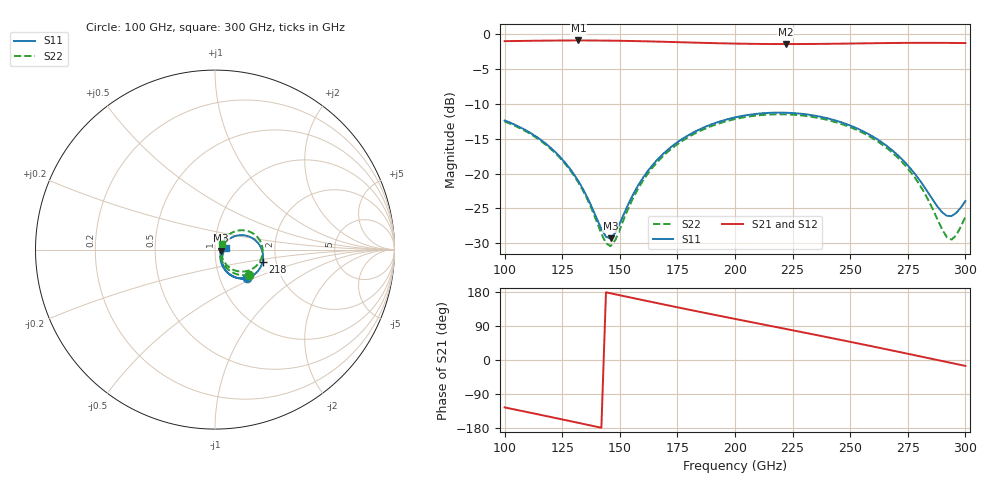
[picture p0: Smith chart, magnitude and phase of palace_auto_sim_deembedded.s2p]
! Created with skrf 1.11.0 (http://scikit-rf.org).
# GHz S DB R 50.0
!freq dBS11 angS11 dBS21 angS21 dBS12 angS12 dBS22 angS22
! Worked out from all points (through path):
!   101 points, 100 GHz to 300 GHz, reference 50 ohm
!   highest |S21| = -0.92 dB at 132 GHz (marker M1); lowest = -1.4 dB at 222 GHz (marker M2)
!   group delay of S21, straight-line fit = 3.45 ps
!   lowest |S11| = -29.3 dB at 146 GHz (marker M3), VSWR 1.07, Z = 53.5 - j0.587 ohm
!   |S11| at or under -10 dB: start of sweep to end of sweep
!   |S22| runs from -30.4 to -11.5 dB; largest |S21 - S12| = 9.8e-14
!   S11 on the Smith chart (normalised r, x): 100 GHz: 1.35, -0.46; 218 GHz: 1.70, -0.25; 300 GHz: 1.13, +0.03
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100  -12.38 -41.5  -1.02 -125.1  -1.02 -125.1  -12.53 -36.0
118  -15.75 -58.8  -0.94 -147.8  -0.94 -147.8  -15.90 -52.6
126  -18.33 -64.2  -0.92 -158.1  -0.92 -158.1  -18.50 -58.0
132  -21.07 -65.2  -0.92 -165.8  -0.92 -165.8  -21.27 -59.2
134  -22.21 -64.2  -0.92 -168.4  -0.92 -168.4  -22.44 -58.4
142  -27.95 -41.8  -0.93 -178.8  -0.93 -178.8  -28.61 -37.0
144  -29.07 -27.0  -0.94 178.6  -0.94 178.6  -30.00 -21.5
146  -29.30 -9.2  -0.95 176.0  -0.95 176.0  -30.41 -1.6
148  -28.52 7.2  -0.96 173.5  -0.96 173.5  -29.56 17.0
158  -21.68 36.1  -1.02 160.6  -1.02 160.6  -22.12 47.7
168  -17.44 33.9  -1.10 147.9  -1.10 147.9  -17.75 45.4
182  -14.10 22.4  -1.23 130.4  -1.23 130.4  -14.36 34.2
200  -11.95 4.3  -1.37 108.4  -1.37 108.4  -12.19 16.8
218  -11.27 -14.4  -1.43 86.8  -1.43 86.8  -11.50 -1.5
222  -11.28 -18.6  -1.43 82.0  -1.43 82.0  -11.51 -5.6
234  -11.66 -31.0  -1.42 67.5  -1.42 67.5  -11.90 -17.7
252  -13.38 -48.7  -1.35 45.4  -1.35 45.4  -13.63 -35.6
268  -16.60 -61.1  -1.28 25.4  -1.28 25.4  -16.92 -49.2
280  -20.88 -61.7  -1.26 10.1  -1.26 10.1  -21.54 -53.0
292  -26.06 -26.5  -1.27 -5.4  -1.27 -5.4  -29.15 -16.4
296  -25.66 -4.9  -1.28 -10.5  -1.28 -10.5  -28.86 16.2
300  -23.94 10.5  -1.30 -15.6  -1.30 -15.6  -26.19 36.9
